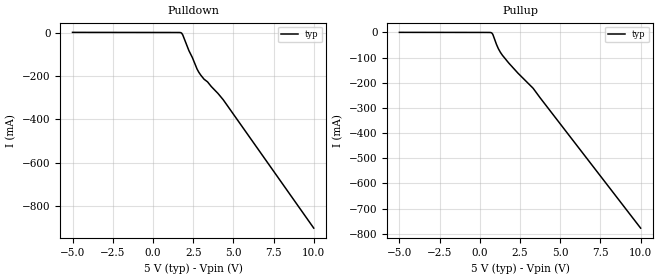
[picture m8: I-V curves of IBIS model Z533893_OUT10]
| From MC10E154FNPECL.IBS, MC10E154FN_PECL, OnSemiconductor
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| (C) COPYRIGHT 1993-2000
| MENTOR GRAPHICS CORPORATION
| ICX STANDARD LIBRARY, ICX PROJECT MODELING,
| ICX CUSTOM MODELING, ICX VENDOR MODEL
| ALL RIGHTS RESERVED.
| THE FOLLOWING ARE TRADEMARKS OR SERVICE MARKS OF
| MENTOR GRAPHICS CORPORATION:ICX (R), ICX STANDARD
| LIBRARY(R), ICX PROJECT MODELING(R), ICX CUSTOM
| MODELING(R), qualityIBIS(TM), MODELVIEWER(TM),
| AND MODELEDITOR(TM)
| ALL COPIES OF SOFTWARE, INCLUDING BUT NOT LIMITED TO
| ANY MODIFICATIONS, ENHANCEMENTS OR DERIVATIVE WORKS,
| MUST CONTAIN ALL MENTOR GRAPHICS CORPORATION'S
| NOTICES AND LEGENDS, INCLUDING THOSE EMBEDDED IN
| SOFTWARE AND THOSE AFFIXED TO SOFTWARE MEDIUM
| AND CONTAINER, AS RECEIVED FROM MENTOR GRAPHICS
| CORPORATION.
| Model Application Version 1.89 2/18/99.
[Model] Z533893_OUT10
Model_type Output_ECL
Vref=3.000V
Rref=50.00ohms
Cref=0.000F
Vmeas=3.700V
C_comp 8.000pF NA NA
| variable typ   min   max
[Voltage Range] 5.000V NA NA
[POWER Clamp Reference] 5.000V NA NA
[Pullup Reference] 5.000V NA NA
[Pulldown Reference] 5.000V NA NA
[GND Clamp Reference] 0.000V NA NA
[GND Clamp]
-5V       0A         NA         NA
10V       0A         NA         NA
[Pulldown]
-5V       675.5uA    NA         NA
1.528V    129uA      NA         NA
1.785V    -2.814mA   NA         NA
1.855V    -11mA      NA         NA
2.237V    -83.41mA   NA         NA
2.449V    -114.7mA   NA         NA
2.749V    -169mA     NA         NA
2.856V    -183.3mA   NA         NA
3.18V     -215mA     NA         NA
3.393V    -227mA     NA         NA
4.369V    -309.3mA   NA         NA
10V       -900.6mA   NA         NA
[Pullup]
-5V       503.6uA    NA         NA
742mV     -1.717mA   NA         NA
830mV     -10.79mA   NA         NA
1.154V    -64.42mA   NA         NA
1.406V    -90.54mA   NA         NA
2.373V    -161.7mA   NA         NA
3.315V    -221.7mA   NA         NA
10V       -777.8mA   NA         NA
[POWER Clamp]
-5V       0A         NA         NA
10V       0A         NA         NA
[Ramp]
| variable typ min max
dV/dt_r 606.2m/979.7p NA NA
dV/dt_f 606.2m/527.4p NA NA
R_load = 500.0Ohms
